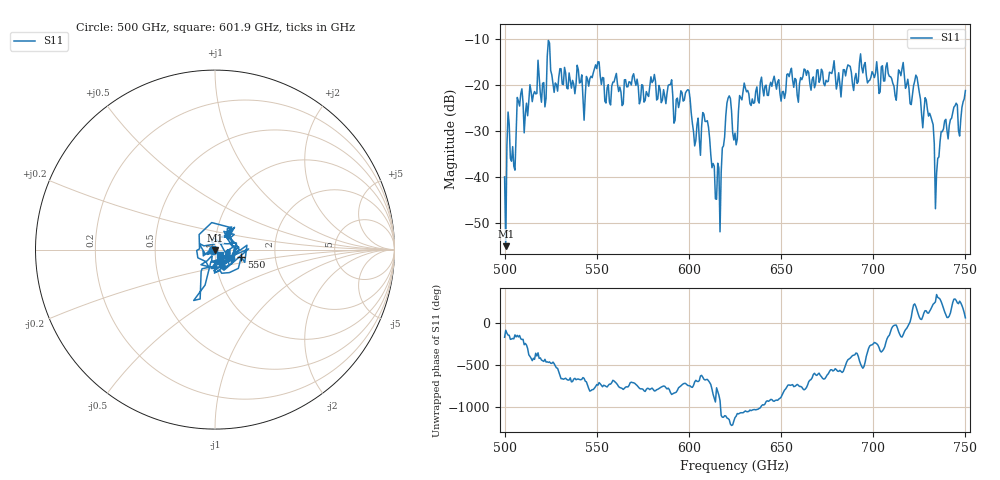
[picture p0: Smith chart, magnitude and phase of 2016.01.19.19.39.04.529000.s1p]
!Created with skrf (http://scikit-rf.org).
# GHz S RI R 50.0
!freq ReS11 ImS11
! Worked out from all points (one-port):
!   401 points, 500 GHz to 750 GHz, reference 50 ohm
!   lowest |S11| = -55.0 dB at 500.6 GHz (marker M1), VSWR 1.00, Z = 50 - j0.178 ohm
!   |S11| at or under -10 dB: start of sweep to end of sweep
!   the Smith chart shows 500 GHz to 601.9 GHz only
!   S11 on the Smith chart (normalised r, x): 500 GHz: 0.98, -0.00; 550 GHz: 1.34, -0.11; 601.9 GHz: 1.05, -0.06
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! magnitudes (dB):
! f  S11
! 500 GHz  -39.9
! 500.6 GHz  -55.0
! 502.5 GHz  -28.5
! 505 GHz  -37.6
! 508.1 GHz  -24.5
! 521.2 GHz  -19.4
! 524.4 GHz  -10.8
! 527.5 GHz  -19.5
! 531.2 GHz  -19.7
! 543.8 GHz  -22.3
! 550 GHz  -16.4
! 562.5 GHz  -20.4
! 580.6 GHz  -19.0
! 593.8 GHz  -22.8
! 599.4 GHz  -21.0
! 601.9 GHz  -28.3
! 609.4 GHz  -27.9
! 615.6 GHz  -36.9
! 621.2 GHz  -22.8
! 625 GHz  -30.4
! 630.6 GHz  -20.6
! 656.2 GHz  -18.9
! 687.5 GHz  -15.9
! 718.8 GHz  -18.7
! 729.4 GHz  -25.2
! 734.4 GHz  -39.1
! 738.1 GHz  -29.4
! 750 GHz  -21.2
